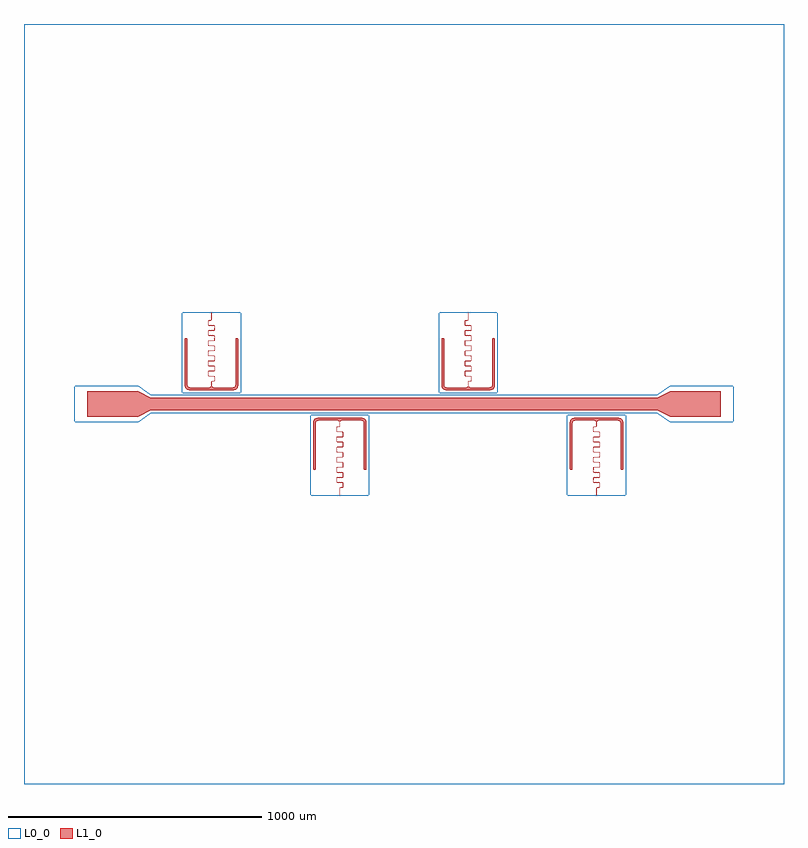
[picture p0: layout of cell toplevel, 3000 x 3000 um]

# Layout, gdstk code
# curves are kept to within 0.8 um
import gdstk
lib = gdstk.Library(unit=1e-6, precision=1e-09)
def P(c, l, *ps):  # polygons
    for p in ps: c.add(gdstk.Polygon(p, *l))
L0_0 = (0, 0)
L1_0 = (1, 0)

toplevel = lib.new_cell('toplevel')
P(toplevel, L0_0, [(1500,1500),(-1500,1500),(-1500,-70),(-1300,-70),(-1300,70),(-1050,70),(-1014.286,45),(-875,45),(-875,360),(-645,360),(-645,45),(138.333,45),(138.333,360),(368.333,360),(368.333,45),(-1014.286,45),(-1000,35),(1000,35),(1050,70),(1300,70),(1300,-70),(1050,-70),(1000,-35),(-1000,-35),(-1050,-70),(-1500,-70),(-1500,-360),(-368.333,-360),(-368.333,-45),(-138.333,-45),(-138.333,-360),(645,-360),(645,-45),(875,-45),(875,-360),(-1500,-360),(-1500,-1500),(1500,-1500)])
P(toplevel, L1_0, [(-860.218,259.995),(-863.535,258.535),(-864.995,255.218),(-864.999,77.63),(-863.765,67.452),(-859.601,60.399),(-853.098,56.418),(-844.424,55.03),(-677.901,55),(-667.562,56.2),(-660.306,60.492),(-656.38,67.012),(-655.018,76.053),(-655,255),(-656.464,258.535),(-661.71,259.698),(-663.967,258.044),(-664.995,255.218),(-665.009,76.665),(-665.596,71.069),(-667.408,67.533),(-670.889,65.644),(-676.665,65.009),(-842.755,65.003),(-851.9,66.931),(-853.889,69.551),(-854.865,73.88),(-855.005,255.218),(-856.622,258.686)],
  [(-759.5,70),(-759.499,86.606),(-759.319,88.07),(-758.802,88.914),(-757.868,89.376),(-749.8,89.573),(-748.443,90.037),(-747.537,90.943),(-747.139,91.952),(-747.003,93.239),(-747.002,106.67),(-747.194,108.261),(-747.593,109.147),(-748.195,109.795),(-749.026,110.237),(-750.068,110.46),(-770.294,110.607),(-771.121,110.944),(-771.65,111.533),(-771.933,112.418),(-771.987,127.041),(-771.759,128.235),(-771.199,129),(-770.427,129.361),(-769.326,129.495),(-749.742,129.583),(-748.59,129.953),(-747.758,130.627),(-747.23,131.622),(-747.014,132.926),(-747.021,147.205),(-747.354,148.704),(-748.144,149.755),(-749.18,150.288),(-750.537,150.491),(-769.989,150.554),(-770.853,150.793),(-771.449,151.238),(-771.823,151.944),(-771.986,152.943),(-771.988,167.008),(-771.775,168.194),(-771.23,168.975),(-770.456,169.353),(-769.342,169.495),(-749.761,169.579),(-748.627,169.934),(-747.786,170.594),(-747.249,171.564),(-747.019,172.832),(-747.021,187.205),(-747.354,188.704),(-748.144,189.755),(-749.18,190.288),(-750.537,190.491),(-769.974,190.551),(-770.827,190.781),(-771.432,191.218),(-771.81,191.902),(-771.981,192.861),(-771.988,207.008),(-771.775,208.194),(-771.23,208.975),(-770.456,209.353),(-769.342,209.495),(-749.781,209.576),(-748.645,209.925),(-747.814,210.561),(-747.269,211.507),(-747.025,212.738),(-747.021,227.205),(-747.354,228.704),(-748.144,229.755),(-749.18,230.288),(-750.556,230.492),(-769.942,230.547),(-770.801,230.769),(-771.405,231.188),(-771.79,231.847),(-771.972,232.748),(-771.989,246.992),(-771.775,248.194),(-771.23,248.975),(-770.456,249.353),(-769.342,249.495),(-749.8,249.573),(-748.683,249.906),(-747.858,250.512),(-747.306,251.411),(-747.038,252.587),(-747.02,267.186),(-747.354,268.704),(-748.144,269.755),(-749.18,270.288),(-750.556,270.492),(-769.927,270.546),(-770.762,270.752),(-771.36,271.14),(-771.754,271.752),(-771.956,272.589),(-771.989,286.992),(-771.77,288.208),(-771.22,288.983),(-770.441,289.357),(-769.326,289.495),(-749.858,289.565),(-748.777,289.862),(-747.933,290.433),(-747.37,291.258),(-747.068,292.338),(-747.019,307.168),(-747.345,308.685),(-748.144,309.755),(-749.18,310.288),(-750.556,310.492),(-769.864,310.538),(-770.681,310.72),(-771.282,311.068),(-771.682,311.595),(-771.917,312.326),(-771.997,326.758),(-771.89,327.809),(-771.593,328.563),(-770.942,329.163),(-769.895,329.458),(-763.129,329.506),(-761.777,329.683),(-761.016,329.994),(-760.418,330.449),(-759.963,331.071),(-759.668,331.835),(-759.501,333.456),(-759.5,360),(-760.5,360),(-760.5,333.497),(-760.635,332.088),(-761.14,331.14),(-762.102,330.632),(-770.2,330.427),(-771.539,329.974),(-772.452,329.075),(-772.847,328.106),(-772.995,326.852),(-772.901,312.146),(-772.566,311.127),(-771.988,310.358),(-771.166,309.837),(-770.104,309.56),(-750.674,309.495),(-749.559,309.357),(-748.78,308.983),(-748.225,308.194),(-748.01,306.975),(-748.058,292.48),(-748.275,291.686),(-748.669,291.113),(-749.279,290.736),(-750.105,290.542),(-769.444,290.492),(-770.82,290.288),(-771.856,289.755),(-772.646,288.704),(-772.98,287.186),(-772.95,272.473),(-772.663,271.334),(-772.097,270.465),(-771.261,269.879),(-770.162,269.568),(-750.674,269.495),(-749.559,269.357),(-748.78,268.983),(-748.23,268.208),(-748.011,266.992),(-748.033,252.684),(-748.225,251.806),(-748.613,251.169),(-749.212,250.763),(-750.058,250.547),(-769.444,250.492),(-770.82,250.288),(-771.856,249.755),(-772.646,248.704),(-772.979,247.205),(-772.969,232.663),(-772.716,231.468),(-772.171,230.545),(-771.336,229.915),(-770.219,229.576),(-750.658,229.495),(-749.544,229.353),(-748.77,228.975),(-748.225,228.194),(-748.011,226.992),(-748.022,212.812),(-748.2,211.874),(-748.577,211.208),(-749.186,210.775),(-750.042,210.549),(-769.463,210.491),(-770.82,210.288),(-771.856,209.755),(-772.646,208.704),(-772.979,207.205),(-772.979,192.795),(-772.744,191.545),(-772.2,190.578),(-771.373,189.934),(-770.239,189.579),(-750.658,189.495),(-749.544,189.353),(-748.77,188.975),(-748.225,188.194),(-748.012,187.008),(-748.017,172.894),(-748.181,171.93),(-748.559,171.228),(-749.16,170.787),(-750.026,170.551),(-769.463,170.491),(-770.82,170.288),(-771.856,169.755),(-772.646,168.704),(-772.979,167.205),(-772.984,152.888),(-772.764,151.603),(-772.228,150.611),(-771.392,149.944),(-770.258,149.583),(-750.658,149.495),(-749.544,149.353),(-748.77,148.975),(-748.225,148.194),(-748.012,147.008),(-748.012,132.975),(-748.168,131.973),(-748.542,131.249),(-749.147,130.793),(-750.011,130.554),(-769.444,130.492),(-770.8,130.294),(-771.822,129.782),(-772.63,128.742),(-772.975,127.262),(-773,113.74),(-772.897,112.126),(-772.474,110.961),(-771.7,110.129),(-770.548,109.639),(-769.08,109.501),(-750.312,109.478),(-749.487,109.336),(-748.868,109.048),(-748.437,108.61),(-748.155,107.985),(-748.001,106.623),(-748.002,93.309),(-748.104,92.221),(-748.399,91.449),(-749.058,90.837),(-750.105,90.542),(-756.852,90.495),(-758.165,90.332),(-759.504,89.627),(-760.27,88.378),(-760.498,86.67),(-760.5,70)],
  [(-750,65),(-759.5,70),(-760.5,70),(-770,65)],
  [(-153.115,-259.995),(-149.798,-258.535),(-148.338,-255.218),(-148.334,-77.721),(-149.534,-67.561),(-153.732,-60.399),(-160.236,-56.418),(-168.909,-55.03),(-335.432,-55),(-345.772,-56.2),(-353.027,-60.492),(-356.991,-67.122),(-358.317,-76.148),(-358.333,-255),(-356.869,-258.535),(-351.623,-259.698),(-349.367,-258.044),(-348.338,-255.218),(-348.323,-76.584),(-347.722,-71.009),(-345.956,-67.565),(-342.445,-65.644),(-336.668,-65.009),(-170.578,-65.003),(-161.433,-66.931),(-159.444,-69.551),(-158.462,-73.953),(-158.329,-255.218),(-156.711,-258.686)],
  [(-253.833,-70),(-253.834,-86.606),(-254.015,-88.07),(-254.531,-88.914),(-255.465,-89.376),(-263.533,-89.573),(-264.891,-90.037),(-265.797,-90.943),(-266.194,-91.952),(-266.33,-93.239),(-266.332,-106.67),(-266.139,-108.261),(-265.74,-109.147),(-265.138,-109.795),(-264.308,-110.237),(-263.265,-110.46),(-243.039,-110.607),(-242.212,-110.944),(-241.684,-111.533),(-241.4,-112.418),(-241.347,-127.041),(-241.574,-128.235),(-242.135,-129),(-242.907,-129.361),(-244.008,-129.495),(-263.591,-129.583),(-264.744,-129.953),(-265.575,-130.627),(-266.104,-131.622),(-266.32,-132.926),(-266.312,-147.205),(-265.98,-148.704),(-265.189,-149.755),(-264.153,-150.288),(-262.796,-150.491),(-243.344,-150.554),(-242.48,-150.793),(-241.884,-151.238),(-241.51,-151.944),(-241.347,-152.943),(-241.345,-167.008),(-241.558,-168.194),(-242.103,-168.975),(-242.878,-169.353),(-243.991,-169.495),(-263.572,-169.579),(-264.707,-169.934),(-265.547,-170.594),(-266.084,-171.564),(-266.314,-172.832),(-266.312,-187.205),(-265.98,-188.704),(-265.189,-189.755),(-264.153,-190.288),(-262.796,-190.491),(-243.36,-190.551),(-242.506,-190.781),(-241.901,-191.218),(-241.524,-191.902),(-241.352,-192.861),(-241.345,-207.008),(-241.558,-208.194),(-242.103,-208.975),(-242.878,-209.353),(-243.991,-209.495),(-263.553,-209.576),(-264.688,-209.925),(-265.519,-210.561),(-266.064,-211.507),(-266.308,-212.738),(-266.312,-227.205),(-265.98,-228.704),(-265.189,-229.755),(-264.153,-230.288),(-262.778,-230.492),(-243.391,-230.547),(-242.532,-230.769),(-241.928,-231.188),(-241.543,-231.847),(-241.361,-232.748),(-241.344,-246.992),(-241.558,-248.194),(-242.103,-248.975),(-242.878,-249.353),(-243.991,-249.495),(-263.533,-249.573),(-264.65,-249.906),(-265.476,-250.512),(-266.028,-251.411),(-266.295,-252.587),(-266.313,-267.186),(-265.98,-268.704),(-265.189,-269.755),(-264.153,-270.288),(-262.778,-270.492),(-243.407,-270.546),(-242.572,-270.752),(-241.974,-271.14),(-241.58,-271.752),(-241.377,-272.589),(-241.344,-286.992),(-241.564,-288.208),(-242.113,-288.983),(-242.892,-289.357),(-244.008,-289.495),(-263.476,-289.565),(-264.556,-289.862),(-265.4,-290.433),(-265.963,-291.258),(-266.265,-292.338),(-266.314,-307.168),(-265.988,-308.685),(-265.189,-309.755),(-264.153,-310.288),(-262.778,-310.492),(-243.47,-310.538),(-242.653,-310.72),(-242.051,-311.068),(-241.651,-311.595),(-241.416,-312.326),(-241.337,-326.758),(-241.444,-327.809),(-241.74,-328.563),(-242.391,-329.163),(-243.438,-329.458),(-250.204,-329.506),(-251.556,-329.683),(-252.318,-329.994),(-252.915,-330.449),(-253.37,-331.071),(-253.666,-331.835),(-253.833,-333.456),(-253.833,-360),(-252.833,-360),(-252.833,-333.497),(-252.698,-332.088),(-252.193,-331.14),(-251.231,-330.632),(-243.133,-330.427),(-241.794,-329.974),(-240.881,-329.075),(-240.486,-328.106),(-240.339,-326.852),(-240.433,-312.146),(-240.767,-311.127),(-241.346,-310.358),(-242.168,-309.837),(-243.229,-309.56),(-262.659,-309.495),(-263.775,-309.357),(-264.553,-308.983),(-265.108,-308.194),(-265.323,-306.975),(-265.275,-292.48),(-265.059,-291.686),(-264.664,-291.113),(-264.055,-290.736),(-263.229,-290.542),(-243.889,-290.492),(-242.514,-290.288),(-241.478,-289.755),(-240.687,-288.704),(-240.353,-287.186),(-240.384,-272.473),(-240.67,-271.334),(-241.236,-270.465),(-242.073,-269.879),(-243.172,-269.568),(-262.659,-269.495),(-263.775,-269.357),(-264.553,-268.983),(-265.103,-268.208),(-265.322,-266.992),(-265.3,-252.684),(-265.108,-251.806),(-264.72,-251.169),(-264.121,-250.763),(-263.276,-250.547),(-243.889,-250.492),(-242.514,-250.288),(-241.478,-249.755),(-240.687,-248.704),(-240.355,-247.205),(-240.365,-232.663),(-240.617,-231.468),(-241.162,-230.545),(-241.997,-229.915),(-243.114,-229.576),(-262.676,-229.495),(-263.789,-229.353),(-264.564,-228.975),(-265.108,-228.194),(-265.322,-226.992),(-265.311,-212.812),(-265.133,-211.874),(-264.756,-211.208),(-264.148,-210.775),(-263.291,-210.549),(-243.87,-210.491),(-242.514,-210.288),(-241.478,-209.755),(-240.687,-208.704),(-240.355,-207.205),(-240.355,-192.795),(-240.589,-191.545),(-241.133,-190.578),(-241.96,-189.934),(-243.095,-189.579),(-262.676,-189.495),(-263.789,-189.353),(-264.564,-188.975),(-265.108,-188.194),(-265.322,-187.008),(-265.316,-172.894),(-265.152,-171.93),(-264.774,-171.228),(-264.174,-170.787),(-263.307,-170.551),(-243.87,-170.491),(-242.514,-170.288),(-241.478,-169.755),(-240.687,-168.704),(-240.355,-167.205),(-240.349,-152.888),(-240.569,-151.603),(-241.105,-150.611),(-241.941,-149.944),(-243.076,-149.583),(-262.676,-149.495),(-263.789,-149.353),(-264.564,-148.975),(-265.108,-148.194),(-265.322,-147.008),(-265.321,-132.975),(-265.165,-131.973),(-264.791,-131.249),(-264.187,-130.793),(-263.323,-130.554),(-243.889,-130.492),(-242.533,-130.294),(-241.512,-129.782),(-240.704,-128.742),(-240.359,-127.262),(-240.333,-113.74),(-240.436,-112.126),(-240.859,-110.961),(-241.633,-110.129),(-242.785,-109.639),(-244.254,-109.501),(-263.021,-109.478),(-263.846,-109.336),(-264.466,-109.048),(-264.897,-108.61),(-265.178,-107.985),(-265.332,-106.623),(-265.331,-93.309),(-265.23,-92.221),(-264.934,-91.449),(-264.276,-90.837),(-263.229,-90.542),(-256.481,-90.495),(-255.169,-90.332),(-253.83,-89.627),(-253.063,-88.378),(-252.835,-86.67),(-252.833,-70)],
  [(-263.333,-65),(-253.833,-70),(-252.833,-70),(-243.333,-65)],
  [(153.115,259.995),(149.798,258.535),(148.338,255.218),(148.334,77.721),(149.568,67.452),(153.732,60.399),(160.236,56.418),(168.909,55.03),(335.432,55),(345.772,56.2),(353.027,60.492),(356.991,67.122),(358.317,76.148),(358.333,255),(356.869,258.535),(351.623,259.698),(349.367,258.044),(348.338,255.218),(348.323,76.584),(347.738,71.069),(345.956,67.565),(342.445,65.644),(336.668,65.009),(170.578,65.003),(161.433,66.931),(159.444,69.551),(158.462,73.953),(158.329,255.218),(156.711,258.686)],
  [(253.833,70),(253.834,86.606),(254.015,88.07),(254.531,88.914),(255.465,89.376),(263.533,89.573),(264.891,90.037),(265.797,90.943),(266.194,91.952),(266.33,93.239),(266.332,106.67),(266.139,108.261),(265.74,109.147),(265.138,109.795),(264.308,110.237),(263.265,110.46),(243.039,110.607),(242.212,110.944),(241.684,111.533),(241.4,112.418),(241.347,127.041),(241.574,128.235),(242.135,129),(242.907,129.361),(244.008,129.495),(263.591,129.583),(264.744,129.953),(265.575,130.627),(266.104,131.622),(266.32,132.926),(266.312,147.205),(265.98,148.704),(265.189,149.755),(264.153,150.288),(262.796,150.491),(243.344,150.554),(242.48,150.793),(241.884,151.238),(241.51,151.944),(241.347,152.943),(241.345,167.008),(241.558,168.194),(242.103,168.975),(242.878,169.353),(243.991,169.495),(263.572,169.579),(264.707,169.934),(265.547,170.594),(266.084,171.564),(266.314,172.832),(266.312,187.205),(265.98,188.704),(265.189,189.755),(264.153,190.288),(262.796,190.491),(243.36,190.551),(242.506,190.781),(241.901,191.218),(241.524,191.902),(241.352,192.861),(241.345,207.008),(241.558,208.194),(242.103,208.975),(242.878,209.353),(243.991,209.495),(263.553,209.576),(264.688,209.925),(265.519,210.561),(266.064,211.507),(266.308,212.738),(266.312,227.205),(265.98,228.704),(265.189,229.755),(264.153,230.288),(262.778,230.492),(243.391,230.547),(242.532,230.769),(241.928,231.188),(241.543,231.847),(241.361,232.748),(241.344,246.992),(241.558,248.194),(242.103,248.975),(242.878,249.353),(243.991,249.495),(263.533,249.573),(264.65,249.906),(265.476,250.512),(266.028,251.411),(266.295,252.587),(266.313,267.186),(265.98,268.704),(265.189,269.755),(264.153,270.288),(262.778,270.492),(243.407,270.546),(242.572,270.752),(241.974,271.14),(241.58,271.752),(241.377,272.589),(241.344,286.992),(241.564,288.208),(242.113,288.983),(242.892,289.357),(244.008,289.495),(263.476,289.565),(264.556,289.862),(265.4,290.433),(265.963,291.258),(266.265,292.338),(266.314,307.168),(265.988,308.685),(265.189,309.755),(264.153,310.288),(262.778,310.492),(243.47,310.538),(242.653,310.72),(242.051,311.068),(241.651,311.595),(241.416,312.326),(241.337,326.758),(241.444,327.809),(241.74,328.563),(242.391,329.163),(243.438,329.458),(250.204,329.506),(251.556,329.683),(252.318,329.994),(252.915,330.449),(253.37,331.071),(253.666,331.835),(253.833,333.456),(253.833,360),(252.833,360),(252.833,333.497),(252.698,332.088),(252.193,331.14),(251.231,330.632),(243.133,330.427),(241.794,329.974),(240.881,329.075),(240.486,328.106),(240.339,326.852),(240.433,312.146),(240.767,311.127),(241.346,310.358),(242.168,309.837),(243.229,309.56),(262.659,309.495),(263.775,309.357),(264.553,308.983),(265.108,308.194),(265.323,306.975),(265.275,292.48),(265.059,291.686),(264.664,291.113),(264.055,290.736),(263.229,290.542),(243.889,290.492),(242.514,290.288),(241.478,289.755),(240.687,288.704),(240.353,287.186),(240.384,272.473),(240.67,271.334),(241.236,270.465),(242.073,269.879),(243.172,269.568),(262.659,269.495),(263.775,269.357),(264.553,268.983),(265.103,268.208),(265.322,266.992),(265.3,252.684),(265.108,251.806),(264.72,251.169),(264.121,250.763),(263.276,250.547),(243.889,250.492),(242.514,250.288),(241.478,249.755),(240.687,248.704),(240.355,247.205),(240.365,232.663),(240.617,231.468),(241.162,230.545),(241.997,229.915),(243.114,229.576),(262.676,229.495),(263.789,229.353),(264.564,228.975),(265.108,228.194),(265.322,226.992),(265.311,212.812),(265.133,211.874),(264.756,211.208),(264.148,210.775),(263.291,210.549),(243.87,210.491),(242.514,210.288),(241.478,209.755),(240.687,208.704),(240.355,207.205),(240.355,192.795),(240.589,191.545),(241.133,190.578),(241.96,189.934),(243.095,189.579),(262.676,189.495),(263.789,189.353),(264.564,188.975),(265.108,188.194),(265.322,187.008),(265.316,172.894),(265.152,171.93),(264.774,171.228),(264.174,170.787),(263.307,170.551),(243.87,170.491),(242.514,170.288),(241.478,169.755),(240.687,168.704),(240.355,167.205),(240.349,152.888),(240.569,151.603),(241.105,150.611),(241.941,149.944),(243.076,149.583),(262.676,149.495),(263.789,149.353),(264.564,148.975),(265.108,148.194),(265.322,147.008),(265.321,132.975),(265.165,131.973),(264.791,131.249),(264.187,130.793),(263.323,130.554),(243.889,130.492),(242.533,130.294),(241.512,129.782),(240.704,128.742),(240.359,127.262),(240.333,113.74),(240.436,112.126),(240.859,110.961),(241.633,110.129),(242.785,109.639),(244.254,109.501),(263.021,109.478),(263.846,109.336),(264.466,109.048),(264.897,108.61),(265.178,107.985),(265.332,106.623),(265.331,93.309),(265.23,92.221),(264.934,91.449),(264.276,90.837),(263.229,90.542),(256.481,90.495),(255.169,90.332),(253.83,89.627),(253.063,88.378),(252.835,86.67),(252.833,70)],
  [(263.333,65),(253.833,70),(252.833,70),(243.333,65)],
  [(860.218,-259.995),(863.535,-258.535),(864.995,-255.218),(864.999,-77.63),(863.765,-67.452),(859.601,-60.399),(853.098,-56.418),(844.424,-55.03),(677.901,-55),(667.562,-56.2),(660.306,-60.492),(656.38,-67.012),(655.018,-76.053),(655,-255),(656.464,-258.535),(661.71,-259.698),(663.967,-258.044),(664.995,-255.218),(665.009,-76.666),(665.58,-71.13),(667.408,-67.533),(670.889,-65.644),(676.665,-65.009),(842.755,-65.003),(851.9,-66.931),(853.889,-69.551),(854.865,-73.88),(855.005,-255.218),(856.622,-258.686)],
  [(759.5,-70),(759.499,-86.606),(759.319,-88.07),(758.802,-88.914),(757.868,-89.376),(749.8,-89.573),(748.443,-90.037),(747.537,-90.943),(747.139,-91.952),(747.003,-93.239),(747.002,-106.67),(747.194,-108.261),(747.593,-109.147),(748.195,-109.795),(749.026,-110.237),(750.068,-110.46),(770.294,-110.607),(771.121,-110.944),(771.65,-111.533),(771.933,-112.418),(771.987,-127.041),(771.759,-128.235),(771.199,-129),(770.427,-129.361),(769.326,-129.495),(749.742,-129.583),(748.59,-129.953),(747.758,-130.627),(747.23,-131.622),(747.014,-132.926),(747.021,-147.205),(747.354,-148.704),(748.144,-149.755),(749.18,-150.288),(750.537,-150.491),(769.989,-150.554),(770.853,-150.793),(771.449,-151.238),(771.823,-151.944),(771.986,-152.943),(771.988,-167.008),(771.775,-168.194),(771.23,-168.975),(770.456,-169.353),(769.342,-169.495),(749.761,-169.579),(748.627,-169.934),(747.786,-170.594),(747.249,-171.564),(747.019,-172.832),(747.021,-187.205),(747.354,-188.704),(748.144,-189.755),(749.18,-190.288),(750.537,-190.491),(769.974,-190.551),(770.827,-190.781),(771.432,-191.218),(771.81,-191.902),(771.981,-192.861),(771.988,-207.008),(771.775,-208.194),(771.23,-208.975),(770.456,-209.353),(769.342,-209.495),(749.781,-209.576),(748.645,-209.925),(747.814,-210.561),(747.269,-211.507),(747.025,-212.738),(747.021,-227.205),(747.354,-228.704),(748.144,-229.755),(749.18,-230.288),(750.556,-230.492),(769.942,-230.547),(770.801,-230.769),(771.405,-231.188),(771.79,-231.847),(771.972,-232.748),(771.989,-246.992),(771.775,-248.194),(771.23,-248.975),(770.456,-249.353),(769.342,-249.495),(749.8,-249.573),(748.683,-249.906),(747.858,-250.512),(747.306,-251.411),(747.038,-252.587),(747.02,-267.186),(747.354,-268.704),(748.144,-269.755),(749.18,-270.288),(750.556,-270.492),(769.927,-270.546),(770.762,-270.752),(771.36,-271.14),(771.754,-271.752),(771.956,-272.589),(771.989,-286.992),(771.77,-288.208),(771.22,-288.983),(770.441,-289.357),(769.326,-289.495),(749.858,-289.565),(748.777,-289.862),(747.933,-290.433),(747.37,-291.258),(747.068,-292.338),(747.019,-307.168),(747.345,-308.685),(748.144,-309.755),(749.18,-310.288),(750.556,-310.492),(769.864,-310.538),(770.681,-310.72),(771.282,-311.068),(771.682,-311.595),(771.917,-312.326),(771.997,-326.758),(771.89,-327.809),(771.593,-328.563),(770.942,-329.163),(769.895,-329.458),(763.129,-329.506),(761.777,-329.683),(761.016,-329.994),(760.418,-330.449),(759.963,-331.071),(759.668,-331.835),(759.501,-333.456),(759.5,-360),(760.5,-360),(760.5,-333.497),(760.635,-332.088),(761.14,-331.14),(762.102,-330.632),(770.2,-330.427),(771.539,-329.974),(772.452,-329.075),(772.847,-328.106),(772.995,-326.852),(772.901,-312.146),(772.566,-311.127),(771.988,-310.358),(771.166,-309.837),(770.104,-309.56),(750.674,-309.495),(749.559,-309.357),(748.78,-308.983),(748.225,-308.194),(748.01,-306.975),(748.058,-292.48),(748.275,-291.686),(748.669,-291.113),(749.279,-290.736),(750.105,-290.542),(769.444,-290.492),(770.82,-290.288),(771.856,-289.755),(772.646,-288.704),(772.98,-287.186),(772.95,-272.473),(772.663,-271.334),(772.097,-270.465),(771.261,-269.879),(770.162,-269.568),(750.674,-269.495),(749.559,-269.357),(748.78,-268.983),(748.23,-268.208),(748.011,-266.992),(748.033,-252.684),(748.225,-251.806),(748.613,-251.169),(749.212,-250.763),(750.058,-250.547),(769.444,-250.492),(770.82,-250.288),(771.856,-249.755),(772.646,-248.704),(772.979,-247.205),(772.969,-232.663),(772.716,-231.468),(772.171,-230.545),(771.336,-229.915),(770.219,-229.576),(750.658,-229.495),(749.544,-229.353),(748.77,-228.975),(748.225,-228.194),(748.011,-226.992),(748.022,-212.812),(748.2,-211.874),(748.577,-211.208),(749.186,-210.775),(750.042,-210.549),(769.463,-210.491),(770.82,-210.288),(771.856,-209.755),(772.646,-208.704),(772.979,-207.205),(772.979,-192.795),(772.744,-191.545),(772.2,-190.578),(771.373,-189.934),(770.239,-189.579),(750.658,-189.495),(749.544,-189.353),(748.77,-188.975),(748.225,-188.194),(748.012,-187.008),(748.017,-172.894),(748.181,-171.93),(748.559,-171.228),(749.16,-170.787),(750.026,-170.551),(769.463,-170.491),(770.82,-170.288),(771.856,-169.755),(772.646,-168.704),(772.979,-167.205),(772.984,-152.888),(772.764,-151.603),(772.228,-150.611),(771.392,-149.944),(770.258,-149.583),(750.658,-149.495),(749.544,-149.353),(748.77,-148.975),(748.225,-148.194),(748.012,-147.008),(748.012,-132.975),(748.168,-131.973),(748.542,-131.249),(749.147,-130.793),(750.011,-130.554),(769.444,-130.492),(770.8,-130.294),(771.822,-129.782),(772.63,-128.742),(772.975,-127.262),(773,-113.74),(772.897,-112.126),(772.474,-110.961),(771.7,-110.129),(770.548,-109.639),(769.08,-109.501),(750.312,-109.478),(749.487,-109.336),(748.868,-109.048),(748.437,-108.61),(748.155,-107.985),(748.001,-106.623),(748.002,-93.309),(748.104,-92.221),(748.399,-91.449),(749.058,-90.837),(750.105,-90.542),(756.852,-90.495),(758.165,-90.332),(759.504,-89.627),(760.27,-88.378),(760.498,-86.67),(760.5,-70)],
  [(750,-65),(759.5,-70),(760.5,-70),(770,-65)],
  [(-1000,25),(-1050,50),(-1250,50),(-1250,-50),(-1050,-50),(-1000,-25),(1000,-25),(1050,-50),(1250,-50),(1250,50),(1050,50),(1000,25)])

lib.write_gds('toplevel.gds')
